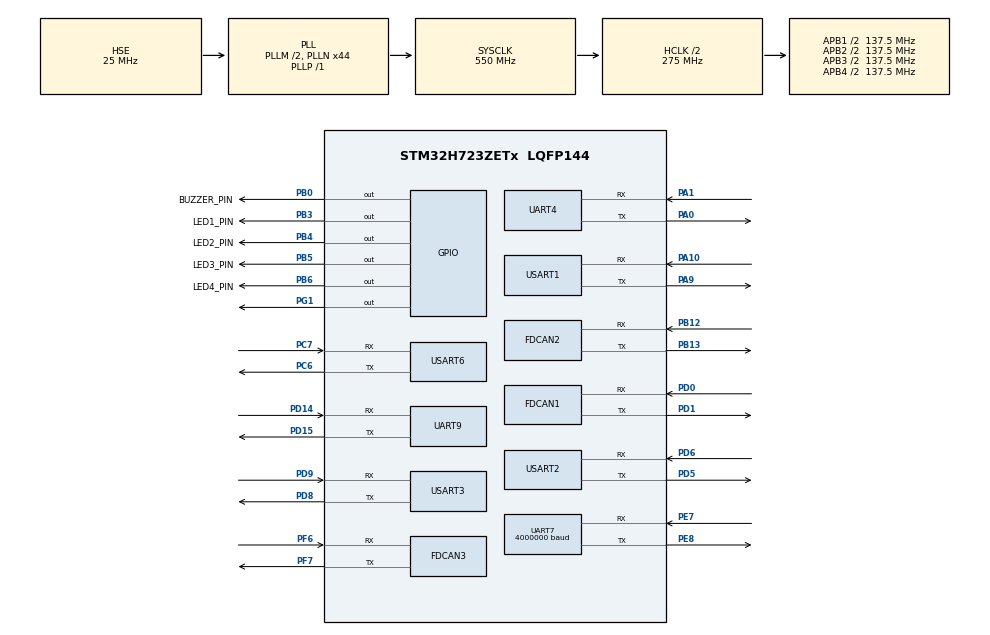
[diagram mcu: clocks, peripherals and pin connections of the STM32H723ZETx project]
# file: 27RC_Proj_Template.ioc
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CORTEX_M7.AccessPermission_S-Cortex_Memory_Protection_Unit_Region1_Settings_S=MPU_REGION_FULL_ACCESS
CORTEX_M7.AccessPermission_S-Cortex_Memory_Protection_Unit_Region2_Settings_S=MPU_REGION_FULL_ACCESS
CORTEX_M7.AccessPermission_Spec=MPU_REGION_FULL_ACCESS
CORTEX_M7.BaseAddress_S-Cortex_Memory_Protection_Unit_Region1_Settings_S=0x08000000
CORTEX_M7.BaseAddress_S-Cortex_Memory_Protection_Unit_Region2_Settings_S=0x30000000
CORTEX_M7.BaseAddress_Spec=0x24000000
CORTEX_M7.CPU_DCache=Enabled
CORTEX_M7.CPU_ICache=Enabled
CORTEX_M7.DisableExec_Spec=MPU_INSTRUCTION_ACCESS_ENABLE
CORTEX_M7.Enable_S-Cortex_Memory_Protection_Unit_Region1_Settings_S=MPU_REGION_ENABLE
CORTEX_M7.Enable_S-Cortex_Memory_Protection_Unit_Region2_Settings_S=MPU_REGION_ENABLE
CORTEX_M7.IsBufferable_Spec=MPU_ACCESS_BUFFERABLE
CORTEX_M7.IsCacheable_S-Cortex_Memory_Protection_Unit_Region1_Settings_S=MPU_ACCESS_CACHEABLE
CORTEX_M7.IsCacheable_S-Cortex_Memory_Protection_Unit_Region2_Settings_S=MPU_ACCESS_CACHEABLE
CORTEX_M7.IsCacheable_Spec=MPU_ACCESS_CACHEABLE
CORTEX_M7.IsShareable_Spec=MPU_ACCESS_NOT_SHAREABLE
CORTEX_M7.Size_S-Cortex_Memory_Protection_Unit_Region1_Settings_S=MPU_REGION_SIZE_512KB
CORTEX_M7.Size_S-Cortex_Memory_Protection_Unit_Region2_Settings_S=MPU_REGION_SIZE_512MB
CORTEX_M7.Size_Spec=MPU_REGION_SIZE_128KB
CORTEX_M7.SubRegionDisable_S-Cortex_Memory_Protection_Unit_Region2_Settings_S=0xFA
CORTEX_M7.SubRegionDisable_Spec=0
CORTEX_M7.TypeExtField_Spec=MPU_TEX_LEVEL1
CORTEX_M7.default_mode_Activation=1
Dma.Request0=UART4_RX
Dma.Request1=UART4_TX
Dma.Request10=USART6_RX
Dma.Request11=USART6_TX
Dma.Request2=UART7_RX
Dma.Request3=UART7_TX
Dma.Request4=UART9_RX
Dma.Request5=UART9_TX
Dma.Request6=USART1_RX
Dma.Request7=USART1_TX
Dma.Request8=USART3_RX
Dma.Request9=USART3_TX
Dma.UART4_RX.0.Direction=DMA_PERIPH_TO_MEMORY
Dma.UART4_RX.0.EventEnable=DISABLE
Dma.UART4_RX.0.FIFOMode=DMA_FIFOMODE_DISABLE
Dma.UART4_RX.0.Instance=DMA1_Stream0
Dma.UART4_RX.0.MemDataAlignment=DMA_MDATAALIGN_BYTE
Dma.UART4_RX.0.MemInc=DMA_MINC_ENABLE
Dma.UART4_RX.0.Mode=DMA_NORMAL
Dma.UART4_RX.0.PeriphDataAlignment=DMA_PDATAALIGN_BYTE
Dma.UART4_RX.0.PeriphInc=DMA_PINC_DISABLE
Dma.UART4_RX.0.Polarity=HAL_DMAMUX_REQ_GEN_RISING
Dma.UART4_RX.0.Priority=DMA_PRIORITY_LOW
Dma.UART4_RX.0.RequestNumber=1
Dma.UART4_RX.0.SignalID=NONE
Dma.UART4_RX.0.SyncEnable=DISABLE
Dma.UART4_RX.0.SyncPolarity=HAL_DMAMUX_SYNC_NO_EVENT
Dma.UART4_RX.0.SyncRequestNumber=1
Dma.UART4_RX.0.SyncSignalID=NONE
Dma.UART4_TX.1.Direction=DMA_MEMORY_TO_PERIPH
Dma.UART4_TX.1.EventEnable=DISABLE
Dma.UART4_TX.1.FIFOMode=DMA_FIFOMODE_DISABLE
Dma.UART4_TX.1.Instance=DMA1_Stream1
Dma.UART4_TX.1.MemDataAlignment=DMA_MDATAALIGN_BYTE
Dma.UART4_TX.1.MemInc=DMA_MINC_ENABLE
Dma.UART4_TX.1.Mode=DMA_NORMAL
Dma.UART4_TX.1.PeriphDataAlignment=DMA_PDATAALIGN_BYTE
Dma.UART4_TX.1.PeriphInc=DMA_PINC_DISABLE
Dma.UART4_TX.1.Polarity=HAL_DMAMUX_REQ_GEN_RISING
Dma.UART4_TX.1.Priority=DMA_PRIORITY_LOW
Dma.UART4_TX.1.RequestNumber=1
Dma.UART4_TX.1.SignalID=NONE
Dma.UART4_TX.1.SyncEnable=DISABLE
Dma.UART4_TX.1.SyncPolarity=HAL_DMAMUX_SYNC_NO_EVENT
Dma.UART4_TX.1.SyncRequestNumber=1
Dma.UART4_TX.1.SyncSignalID=NONE
Dma.UART7_RX.2.Direction=DMA_PERIPH_TO_MEMORY
Dma.UART7_RX.2.EventEnable=DISABLE
Dma.UART7_RX.2.FIFOMode=DMA_FIFOMODE_DISABLE
Dma.UART7_RX.2.Instance=DMA1_Stream2
Dma.UART7_RX.2.MemDataAlignment=DMA_MDATAALIGN_BYTE
Dma.UART7_RX.2.MemInc=DMA_MINC_ENABLE
Dma.UART7_RX.2.Mode=DMA_CIRCULAR
Dma.UART7_RX.2.PeriphDataAlignment=DMA_PDATAALIGN_BYTE
Dma.UART7_RX.2.PeriphInc=DMA_PINC_DISABLE
Dma.UART7_RX.2.Polarity=HAL_DMAMUX_REQ_GEN_RISING
Dma.UART7_RX.2.Priority=DMA_PRIORITY_VERY_HIGH
Dma.UART7_RX.2.RequestNumber=1
Dma.UART7_RX.2.SignalID=NONE
Dma.UART7_RX.2.SyncEnable=DISABLE
Dma.UART7_RX.2.SyncPolarity=HAL_DMAMUX_SYNC_NO_EVENT
Dma.UART7_RX.2.SyncRequestNumber=1
Dma.UART7_RX.2.SyncSignalID=NONE
Dma.UART7_TX.3.Direction=DMA_MEMORY_TO_PERIPH
Dma.UART7_TX.3.EventEnable=DISABLE
Dma.UART7_TX.3.FIFOMode=DMA_FIFOMODE_ENABLE
Dma.UART7_TX.3.FIFOThreshold=DMA_FIFO_THRESHOLD_FULL
Dma.UART7_TX.3.Instance=DMA1_Stream3
Dma.UART7_TX.3.MemBurst=DMA_MBURST_SINGLE
Dma.UART7_TX.3.MemDataAlignment=DMA_MDATAALIGN_BYTE
Dma.UART7_TX.3.MemInc=DMA_MINC_ENABLE
Dma.UART7_TX.3.Mode=DMA_NORMAL
Dma.UART7_TX.3.PeriphBurst=DMA_PBURST_SINGLE
Dma.UART7_TX.3.PeriphDataAlignment=DMA_PDATAALIGN_BYTE
Dma.UART7_TX.3.PeriphInc=DMA_PINC_DISABLE
Dma.UART7_TX.3.Polarity=HAL_DMAMUX_REQ_GEN_RISING
Dma.UART7_TX.3.Priority=DMA_PRIORITY_VERY_HIGH
Dma.UART7_TX.3.RequestNumber=1
Dma.UART7_TX.3.SignalID=NONE
Dma.UART7_TX.3.SyncEnable=DISABLE
Dma.UART7_TX.3.SyncPolarity=HAL_DMAMUX_SYNC_NO_EVENT
Dma.UART7_TX.3.SyncRequestNumber=1
Dma.UART7_TX.3.SyncSignalID=NONE
Dma.UART9_RX.4.Direction=DMA_PERIPH_TO_MEMORY
Dma.UART9_RX.4.EventEnable=DISABLE
Dma.UART9_RX.4.FIFOMode=DMA_FIFOMODE_DISABLE
Dma.UART9_RX.4.Instance=DMA1_Stream4
Dma.UART9_RX.4.MemDataAlignment=DMA_MDATAALIGN_BYTE
Dma.UART9_RX.4.MemInc=DMA_MINC_ENABLE
Dma.UART9_RX.4.Mode=DMA_NORMAL
Dma.UART9_RX.4.PeriphDataAlignment=DMA_PDATAALIGN_BYTE
Dma.UART9_RX.4.PeriphInc=DMA_PINC_DISABLE
Dma.UART9_RX.4.Polarity=HAL_DMAMUX_REQ_GEN_RISING
Dma.UART9_RX.4.Priority=DMA_PRIORITY_LOW
Dma.UART9_RX.4.RequestNumber=1
Dma.UART9_RX.4.SignalID=NONE
Dma.UART9_RX.4.SyncEnable=DISABLE
Dma.UART9_RX.4.SyncPolarity=HAL_DMAMUX_SYNC_NO_EVENT
Dma.UART9_RX.4.SyncRequestNumber=1
Dma.UART9_RX.4.SyncSignalID=NONE
Dma.UART9_TX.5.Direction=DMA_MEMORY_TO_PERIPH
Dma.UART9_TX.5.EventEnable=DISABLE
Dma.UART9_TX.5.FIFOMode=DMA_FIFOMODE_DISABLE
Dma.UART9_TX.5.Instance=DMA1_Stream5
Dma.UART9_TX.5.MemDataAlignment=DMA_MDATAALIGN_BYTE
Dma.UART9_TX.5.MemInc=DMA_MINC_ENABLE
Dma.UART9_TX.5.Mode=DMA_NORMAL
Dma.UART9_TX.5.PeriphDataAlignment=DMA_PDATAALIGN_BYTE
Dma.UART9_TX.5.PeriphInc=DMA_PINC_DISABLE
Dma.UART9_TX.5.Polarity=HAL_DMAMUX_REQ_GEN_RISING
Dma.UART9_TX.5.Priority=DMA_PRIORITY_LOW
Dma.UART9_TX.5.RequestNumber=1
Dma.UART9_TX.5.SignalID=NONE
Dma.UART9_TX.5.SyncEnable=DISABLE
Dma.UART9_TX.5.SyncPolarity=HAL_DMAMUX_SYNC_NO_EVENT
Dma.UART9_TX.5.SyncRequestNumber=1
Dma.UART9_TX.5.SyncSignalID=NONE
Dma.USART1_RX.6.Direction=DMA_PERIPH_TO_MEMORY
Dma.USART1_RX.6.EventEnable=DISABLE
Dma.USART1_RX.6.FIFOMode=DMA_FIFOMODE_DISABLE
Dma.USART1_RX.6.Instance=DMA1_Stream6
Dma.USART1_RX.6.MemDataAlignment=DMA_MDATAALIGN_BYTE
Dma.USART1_RX.6.MemInc=DMA_MINC_ENABLE
Dma.USART1_RX.6.Mode=DMA_NORMAL
Dma.USART1_RX.6.PeriphDataAlignment=DMA_PDATAALIGN_BYTE
Dma.USART1_RX.6.PeriphInc=DMA_PINC_DISABLE
Dma.USART1_RX.6.Polarity=HAL_DMAMUX_REQ_GEN_RISING
Dma.USART1_RX.6.Priority=DMA_PRIORITY_LOW
Dma.USART1_RX.6.RequestNumber=1
Dma.USART1_RX.6.SignalID=NONE
Dma.USART1_RX.6.SyncEnable=DISABLE
Dma.USART1_RX.6.SyncPolarity=HAL_DMAMUX_SYNC_NO_EVENT
Dma.USART1_RX.6.SyncRequestNumber=1
Dma.USART1_RX.6.SyncSignalID=NONE
Dma.USART1_TX.7.Direction=DMA_MEMORY_TO_PERIPH
Dma.USART1_TX.7.EventEnable=DISABLE
Dma.USART1_TX.7.FIFOMode=DMA_FIFOMODE_DISABLE
Dma.USART1_TX.7.Instance=DMA1_Stream7
Dma.USART1_TX.7.MemDataAlignment=DMA_MDATAALIGN_BYTE
Dma.USART1_TX.7.MemInc=DMA_MINC_ENABLE
Dma.USART1_TX.7.Mode=DMA_NORMAL
Dma.USART1_TX.7.PeriphDataAlignment=DMA_PDATAALIGN_BYTE
Dma.USART1_TX.7.PeriphInc=DMA_PINC_DISABLE
Dma.USART1_TX.7.Polarity=HAL_DMAMUX_REQ_GEN_RISING
Dma.USART1_TX.7.Priority=DMA_PRIORITY_LOW
Dma.USART1_TX.7.RequestNumber=1
Dma.USART1_TX.7.SignalID=NONE
Dma.USART1_TX.7.SyncEnable=DISABLE
Dma.USART1_TX.7.SyncPolarity=HAL_DMAMUX_SYNC_NO_EVENT
Dma.USART1_TX.7.SyncRequestNumber=1
Dma.USART1_TX.7.SyncSignalID=NONE
Dma.USART3_RX.8.Direction=DMA_PERIPH_TO_MEMORY
Dma.USART3_RX.8.EventEnable=DISABLE
Dma.USART3_RX.8.FIFOMode=DMA_FIFOMODE_DISABLE
Dma.USART3_RX.8.Instance=DMA2_Stream0
Dma.USART3_RX.8.MemDataAlignment=DMA_MDATAALIGN_BYTE
Dma.USART3_RX.8.MemInc=DMA_MINC_ENABLE
Dma.USART3_RX.8.Mode=DMA_NORMAL
Dma.USART3_RX.8.PeriphDataAlignment=DMA_PDATAALIGN_BYTE
Dma.USART3_RX.8.PeriphInc=DMA_PINC_DISABLE
Dma.USART3_RX.8.Polarity=HAL_DMAMUX_REQ_GEN_RISING
Dma.USART3_RX.8.Priority=DMA_PRIORITY_LOW
Dma.USART3_RX.8.RequestNumber=1
Dma.USART3_RX.8.SignalID=NONE
Dma.USART3_RX.8.SyncEnable=DISABLE
Dma.USART3_RX.8.SyncPolarity=HAL_DMAMUX_SYNC_NO_EVENT
Dma.USART3_RX.8.SyncRequestNumber=1
Dma.USART3_RX.8.SyncSignalID=NONE
Dma.USART3_TX.9.Direction=DMA_MEMORY_TO_PERIPH
Dma.USART3_TX.9.EventEnable=DISABLE
Dma.USART3_TX.9.FIFOMode=DMA_FIFOMODE_DISABLE
Dma.USART3_TX.9.Instance=DMA2_Stream1
Dma.USART3_TX.9.MemDataAlignment=DMA_MDATAALIGN_BYTE
Dma.USART3_TX.9.MemInc=DMA_MINC_ENABLE
Dma.USART3_TX.9.Mode=DMA_NORMAL
Dma.USART3_TX.9.PeriphDataAlignment=DMA_PDATAALIGN_BYTE
Dma.USART3_TX.9.PeriphInc=DMA_PINC_DISABLE
Dma.USART3_TX.9.Polarity=HAL_DMAMUX_REQ_GEN_RISING
Dma.USART3_TX.9.Priority=DMA_PRIORITY_LOW
Dma.USART3_TX.9.RequestNumber=1
Dma.USART3_TX.9.SignalID=NONE
Dma.USART3_TX.9.SyncEnable=DISABLE
Dma.USART3_TX.9.SyncPolarity=HAL_DMAMUX_SYNC_NO_EVENT
Dma.USART3_TX.9.SyncRequestNumber=1
Dma.USART3_TX.9.SyncSignalID=NONE
Dma.USART6_RX.10.Direction=DMA_PERIPH_TO_MEMORY
Dma.USART6_RX.10.EventEnable=DISABLE
Dma.USART6_RX.10.FIFOMode=DMA_FIFOMODE_DISABLE
Dma.USART6_RX.10.Instance=DMA2_Stream2
Dma.USART6_RX.10.MemDataAlignment=DMA_MDATAALIGN_BYTE
Dma.USART6_RX.10.MemInc=DMA_MINC_ENABLE
Dma.USART6_RX.10.Mode=DMA_NORMAL
Dma.USART6_RX.10.PeriphDataAlignment=DMA_PDATAALIGN_BYTE
Dma.USART6_RX.10.PeriphInc=DMA_PINC_DISABLE
Dma.USART6_RX.10.Polarity=HAL_DMAMUX_REQ_GEN_RISING
Dma.USART6_RX.10.Priority=DMA_PRIORITY_LOW
Dma.USART6_RX.10.RequestNumber=1
Dma.USART6_RX.10.SignalID=NONE
Dma.USART6_RX.10.SyncEnable=DISABLE
Dma.USART6_RX.10.SyncPolarity=HAL_DMAMUX_SYNC_NO_EVENT
Dma.USART6_RX.10.SyncRequestNumber=1
Dma.USART6_RX.10.SyncSignalID=NONE
Dma.USART6_TX.11.Direction=DMA_MEMORY_TO_PERIPH
Dma.USART6_TX.11.EventEnable=DISABLE
Dma.USART6_TX.11.FIFOMode=DMA_FIFOMODE_DISABLE
Dma.USART6_TX.11.Instance=DMA2_Stream3
Dma.USART6_TX.11.MemDataAlignment=DMA_MDATAALIGN_BYTE
Dma.USART6_TX.11.MemInc=DMA_MINC_ENABLE
Dma.USART6_TX.11.Mode=DMA_NORMAL
Dma.USART6_TX.11.PeriphDataAlignment=DMA_PDATAALIGN_BYTE
Dma.USART6_TX.11.PeriphInc=DMA_PINC_DISABLE
Dma.USART6_TX.11.Polarity=HAL_DMAMUX_REQ_GEN_RISING
Dma.USART6_TX.11.Priority=DMA_PRIORITY_LOW
Dma.USART6_TX.11.RequestNumber=1
Dma.USART6_TX.11.SignalID=NONE
Dma.USART6_TX.11.SyncEnable=DISABLE
Dma.USART6_TX.11.SyncPolarity=HAL_DMAMUX_SYNC_NO_EVENT
Dma.USART6_TX.11.SyncRequestNumber=1
Dma.USART6_TX.11.SyncSignalID=NONE
FDCAN1.AutoRetransmission=DISABLE
FDCAN1.CalculateBaudRateNominal=1000000
FDCAN1.CalculateTimeBitNominal=1000
FDCAN1.CalculateTimeQuantumNominal=25.0
FDCAN1.DataSyncJumpWidth=5
FDCAN1.DataTimeSeg1=29
FDCAN1.DataTimeSeg2=10
FDCAN1.ExtFiltersNbr=16
FDCAN1.NominalPrescaler=1
FDCAN1.NominalSyncJumpWidth=5
FDCAN1.NominalTimeSeg1=29
FDCAN1.NominalTimeSeg2=10
FDCAN1.RxFifo0ElmtsNbr=20
FDCAN1.RxFifo1ElmtsNbr=20
FDCAN1.StdFiltersNbr=16
FDCAN1.TxBuffersNbr=0
FDCAN1.TxFifoQueueElmtsNbr=16
FDCAN2.CalculateBaudRateNominal=1000000
FDCAN2.CalculateTimeBitNominal=1000
FDCAN2.CalculateTimeQuantumNominal=25.0
FDCAN2.DataSyncJumpWidth=5
FDCAN2.DataTimeSeg1=29
FDCAN2.DataTimeSeg2=10
FDCAN2.ExtFiltersNbr=16
FDCAN2.MessageRAMOffset=850
FDCAN2.NominalPrescaler=1
FDCAN2.NominalSyncJumpWidth=5
FDCAN2.NominalTimeSeg1=29
FDCAN2.NominalTimeSeg2=10
FDCAN2.RxFifo0ElmtsNbr=20
FDCAN2.RxFifo1ElmtsNbr=20
FDCAN2.StdFiltersNbr=16
FDCAN2.TxBuffersNbr=0
FDCAN2.TxFifoQueueElmtsNbr=16
FDCAN3.CalculateBaudRateNominal=1000000
FDCAN3.CalculateTimeBitNominal=1000
FDCAN3.CalculateTimeQuantumNominal=25.0
FDCAN3.DataSyncJumpWidth=5
FDCAN3.DataTimeSeg1=29
FDCAN3.DataTimeSeg2=10
FDCAN3.ExtFiltersNbr=16
FDCAN3.MessageRAMOffset=1700
FDCAN3.NominalPrescaler=1
FDCAN3.NominalSyncJumpWidth=5
FDCAN3.NominalTimeSeg1=29
FDCAN3.NominalTimeSeg2=10
FDCAN3.RxFifo0ElmtsNbr=20
FDCAN3.RxFifo1ElmtsNbr=20
FDCAN3.StdFiltersNbr=16
FDCAN3.TxBuffersNbr=0
FDCAN3.TxFifoQueueElmtsNbr=20
FREERTOS.Tasks01=AlarmTask,16,64,Alarm_Task,As weak,NULL,Dynamic,NULL,NULL;Chassis_Control,24,64,Chassis_Control_Task,As weak,NULL,Dynamic,NULL,NULL;BigBlock_Contro,24,64,BigBlock_Control_Task,As weak,NULL,Dynamic,NULL,NULL;SkyBlock_Contro,24,64,SkyBlock_Control_Task,As weak,NULL,Dynamic,NULL,NULL;Ball_Control,24,64,Ball_Control_Task,As weak,NULL,Dynamic,NULL,NULL;Yaw_Feedback,24,64,Yaw_Feedback_Task,As weak,NULL,Dynamic,NULL,NULL
FREERTOS.configMINIMAL_STACK_SIZE=64
FREERTOS.configTIMER_TASK_STACK_DEPTH=256
Mcu.Family=STM32H7
Mcu.Name=STM32H723ZETx
Mcu.Package=LQFP144
NVIC.DMA1_Stream0_IRQn=true\:5\:0\:false\:false\:true\:true\:false\:true\:true
NVIC.DMA1_Stream1_IRQn=true\:5\:0\:false\:false\:true\:true\:false\:true\:true
NVIC.DMA1_Stream2_IRQn=true\:5\:0\:false\:false\:true\:true\:false\:true\:true
NVIC.DMA1_Stream3_IRQn=true\:5\:0\:false\:false\:true\:true\:false\:true\:true
NVIC.DMA1_Stream4_IRQn=true\:5\:0\:false\:false\:true\:true\:false\:true\:true
NVIC.DMA1_Stream5_IRQn=true\:5\:0\:false\:false\:true\:true\:false\:true\:true
NVIC.DMA1_Stream6_IRQn=true\:5\:0\:false\:false\:true\:true\:false\:true\:true
NVIC.DMA1_Stream7_IRQn=true\:5\:0\:false\:false\:true\:true\:false\:true\:true
NVIC.DMA2_Stream0_IRQn=true\:5\:0\:false\:false\:true\:true\:false\:true\:true
NVIC.DMA2_Stream1_IRQn=true\:5\:0\:false\:false\:true\:true\:false\:true\:true
NVIC.DMA2_Stream2_IRQn=true\:5\:0\:false\:false\:true\:true\:false\:true\:true
NVIC.DMA2_Stream3_IRQn=true\:5\:0\:false\:false\:true\:true\:false\:true\:true
NVIC.FDCAN1_IT0_IRQn=true\:5\:0\:false\:false\:true\:true\:true\:true\:true
NVIC.FDCAN1_IT1_IRQn=true\:5\:0\:false\:false\:true\:true\:true\:true\:true
NVIC.FDCAN2_IT0_IRQn=true\:5\:0\:false\:false\:true\:true\:true\:true\:true
NVIC.FDCAN2_IT1_IRQn=true\:5\:0\:false\:false\:true\:true\:true\:true\:true
NVIC.FDCAN3_IT0_IRQn=true\:5\:0\:false\:false\:true\:true\:true\:true\:true
NVIC.FDCAN3_IT1_IRQn=true\:5\:0\:false\:false\:true\:true\:true\:true\:true
NVIC.PriorityGroup=NVIC_PRIORITYGROUP_4
NVIC.TIM1_UP_IRQn=true\:15\:0\:false\:false\:true\:false\:false\:true\:true
NVIC.TIM2_IRQn=true\:5\:0\:false\:false\:true\:true\:true\:true\:true
NVIC.TIM3_IRQn=true\:5\:0\:false\:false\:true\:true\:true\:true\:true
NVIC.TIM4_IRQn=true\:5\:0\:false\:false\:true\:true\:true\:true\:true
NVIC.TimeBase=TIM1_UP_IRQn
NVIC.TimeBaseIP=TIM1
NVIC.UART4_IRQn=true\:5\:0\:false\:false\:true\:true\:true\:true\:true
NVIC.UART7_IRQn=true\:5\:0\:false\:false\:true\:true\:true\:true\:true
NVIC.UART9_IRQn=true\:5\:0\:false\:false\:true\:true\:true\:true\:true
NVIC.USART1_IRQn=true\:5\:0\:false\:false\:true\:true\:true\:true\:true
NVIC.USART2_IRQn=true\:5\:0\:false\:false\:true\:true\:true\:true\:true
NVIC.USART3_IRQn=true\:5\:0\:false\:false\:true\:true\:true\:true\:true
NVIC.USART6_IRQn=true\:5\:0\:false\:false\:true\:true\:true\:true\:true
PA0.Mode=Asynchronous
PA0.Signal=UART4_TX
PA1.Mode=Asynchronous
PA1.Signal=UART4_RX
PA10.Mode=Asynchronous
PA10.Signal=USART1_RX
PA13(JTMS/SWDIO).Mode=Serial_Wire
PA13(JTMS/SWDIO).Signal=DEBUG_JTMS-SWDIO
PA14(JTCK/SWCLK).Mode=Serial_Wire
PA14(JTCK/SWCLK).Signal=DEBUG_JTCK-SWCLK
PA9.Mode=Asynchronous
PA9.Signal=USART1_TX
PB0.GPIO_Label=BUZZER_PIN
PB0.Signal=GPIO_Output
PB12.GPIO_PuPd=GPIO_NOPULL
PB12.Mode=FDCAN_Activate
PB12.Signal=FDCAN2_RX
PB13.GPIO_PuPd=GPIO_NOPULL
PB13.Mode=FDCAN_Activate
PB13.Signal=FDCAN2_TX
PB3(JTDO/TRACESWO).GPIO_Label=LED1_PIN
PB3(JTDO/TRACESWO).Signal=GPIO_Output
PB4(NJTRST).GPIO_Label=LED2_PIN
PB4(NJTRST).Signal=GPIO_Output
PB5.GPIO_Label=LED3_PIN
PB5.Signal=GPIO_Output
PB6.GPIO_Label=LED4_PIN
PB6.Signal=GPIO_Output
PC6.Mode=Asynchronous
PC6.Signal=USART6_TX
PC7.Mode=Asynchronous
PC7.Signal=USART6_RX
PD0.GPIO_PuPd=GPIO_NOPULL
PD0.Mode=FDCAN_Activate
PD0.Signal=FDCAN1_RX
PD1.GPIO_PuPd=GPIO_NOPULL
PD1.Mode=FDCAN_Activate
PD1.Signal=FDCAN1_TX
PD14.Mode=Asynchronous
PD14.Signal=UART9_RX
PD15.Mode=Asynchronous
PD15.Signal=UART9_TX
PD5.Mode=Asynchronous
PD5.Signal=USART2_TX
PD6.Mode=Asynchronous
PD6.Signal=USART2_RX
PD8.Mode=Asynchronous
PD8.Signal=USART3_TX
PD9.Mode=Asynchronous
PD9.Signal=USART3_RX
PE7.GPIO_Speed=GPIO_SPEED_FREQ_VERY_HIGH
PE7.Mode=Asynchronous
PE7.Signal=UART7_RX
PE8.GPIO_Speed=GPIO_SPEED_FREQ_VERY_HIGH
PE8.Mode=Asynchronous
PE8.Signal=UART7_TX
PF6.GPIO_PuPd=GPIO_NOPULL
PF6.Mode=FDCAN_Activate
PF6.Signal=FDCAN3_RX
PF7.GPIO_PuPd=GPIO_NOPULL
PF7.Mode=FDCAN_Activate
PF7.Signal=FDCAN3_TX
PG1.Signal=GPIO_Output
PH0-OSC_IN.Mode=HSE-External-Oscillator
PH0-OSC_IN.Signal=RCC_OSC_IN
PH1-OSC_OUT.Mode=HSE-External-Oscillator
PH1-OSC_OUT.Signal=RCC_OSC_OUT
ProjectManager.HeapSize=0x200
ProjectManager.StackSize=0x400
ProjectManager.TargetToolchain=MDK-ARM V5.32
RCC.ADCFreq_Value=100000000
RCC.APB1Freq_Value=137500000
RCC.APB2Freq_Value=137500000
RCC.APB3Freq_Value=137500000
RCC.APB4Freq_Value=137500000
RCC.CortexFreq_Value=550000000
RCC.D1PPRE=RCC_APB3_DIV2
RCC.D2PPRE1=RCC_APB1_DIV2
RCC.D2PPRE2=RCC_APB2_DIV2
RCC.D3PPRE=RCC_APB4_DIV2
RCC.DIVM1=2
RCC.DIVM2=2
RCC.DIVM3=2
RCC.DIVN1=44
RCC.DIVN2=16
RCC.DIVN3=16
RCC.DIVP1=1
RCC.DIVQ1=4
RCC.DIVQ2=5
RCC.FDCANCLockSelection=RCC_FDCANCLKSOURCE_PLL2
RCC.HCLKFreq_Value=275000000
RCC.HPRE=RCC_HCLK_DIV2
RCC.PLL2FRACN=0
RCC.PLL3FRACN=0
RCC.PLLFRACN=0
RCC.PLLSourceVirtual=RCC_PLLSOURCE_HSE
RCC.SYSCLKFreq_VALUE=550000000
RCC.SYSCLKSource=RCC_SYSCLKSOURCE_PLLCLK
RCC.USBFreq_Value=137500000
TIM2.Period=999
TIM2.Prescaler=274
TIM3.Prescaler=274
TIM4.Period=999
TIM4.Prescaler=274
TIM5.Period=999
TIM5.Prescaler=274
UART7.BaudRate=4000000
USART1.VirtualMode-Asynchronous=VM_ASYNC
USART2.VirtualMode-Asynchronous=VM_ASYNC
USART3.VirtualMode-Asynchronous=VM_ASYNC
USART6.VirtualMode-Asynchronous=VM_ASYNC
VP_FREERTOS_VS_CMSIS_V2.Mode=CMSIS_V2
VP_MEMORYMAP_VS_MEMORYMAP.Mode=CurAppReg
VP_SYS_VS_tim1.Mode=TIM1
VP_TIM2_VS_ClockSourceINT.Mode=Internal
VP_TIM3_VS_ClockSourceINT.Mode=Internal
VP_TIM4_VS_ClockSourceINT.Mode=Internal
VP_TIM5_VS_ClockSourceINT.Mode=Internal
board=custom

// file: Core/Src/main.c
/* USER CODE BEGIN Header */
/**
  ******************************************************************************
  * @file           : main.c
  * @brief          : Main program body
  ******************************************************************************
  * @attention
  *
  * Copyright (c) 2026 STMicroelectronics.
  * All rights reserved.
  *
  * This software is licensed under terms that can be found in the LICENSE file
  * in the root directory of this software component.
  * If no LICENSE file comes with this software, it is provided AS-IS.
  *
  ******************************************************************************
  */
/* USER CODE END Header */
#include "main.h"
#include "FreeRTOS.h"
#include "cmsis_os2.h"
#include "dma.h"
#include "fdcan.h"
#include "tim.h"
#include "usart.h"
#include "gpio.h"

/* USER CODE BEGIN Includes */
#include "includes.h"
#include "IQRhandler.h"
#include "motor_config.h"
#include "FD_Canqueue.h"
#include "ZDrive.h"
#include "DJmotor.h"
#include "VescMotor.h"
#include "UnitreeMotor.h"
#include "bsp_board.h"
#include "bsp_buzzer.h"
#include "bsp_solenoid.h"
#include "app_config.h"
#include "bluetooth.h"
/* USER CODE END Includes */

void SystemClock_Config(void);
void PeriphCommonClock_Config(void);
static void MPU_Config(void);
void MX_FREERTOS_Init(void);

int main(void)
{

  /* USER CODE BEGIN 1 */
	uint32_t *SourceAddr = (uint32_t *)FLASH_BANK1_BASE;
	uint32_t *DestAddr = (uint32_t *)D1_DTCMRAM_BASE;
	memcpy(DestAddr, SourceAddr, 0x400);
	SCB->VTOR = D1_DTCMRAM_BASE; //向量表重定向
  /* USER CODE END 1 */

  /* MPU Configuration--------------------------------------------------------*/
  MPU_Config();

  /* Enable the CPU Cache */

  /* Enable I-Cache---------------------------------------------------------*/
  SCB_EnableICache();

  /* Enable D-Cache---------------------------------------------------------*/
  SCB_EnableDCache();

  /* MCU Configuration--------------------------------------------------------*/

  /* Reset of all peripherals, Initializes the Flash interface and the Systick. */
  HAL_Init();

  /* USER CODE BEGIN Init */
	#if USE_ZMDR
  ZdriveInit();
	#endif
  /* USER CODE END Init */

  /* Configure the system clock */
  SystemClock_Config();

  /* Configure the peripherals common clocks */
  PeriphCommonClock_Config();

  /* Initialize all configured peripherals */
  MX_GPIO_Init();
  MX_DMA_Init();
  MX_FDCAN1_Init();
  MX_FDCAN2_Init();
  MX_FDCAN3_Init();
  MX_UART4_Init();
  MX_UART7_Init();
  MX_UART9_Init();
  MX_USART1_UART_Init();
  MX_USART2_UART_Init();
  MX_USART3_UART_Init();
  MX_USART6_UART_Init();
  MX_TIM2_Init();
  MX_TIM3_Init();
  MX_TIM4_Init();
  MX_TIM5_Init();
  /* USER CODE BEGIN 2 */
  Bsp_BoardInit();
#if APP_START_BUZZER_ON_BOOT
  BspBuzzer_StartupBeep();
#endif
  CAN_InitSendQueue();
  CAN_Start();
#if USE_DJ
  DJmotor_Init();
#endif
#if USE_VESC
  VescInit();
#endif
#if USE_ZMDR
  ZdriveInit();
#endif
#if USE_UNITREE
  UnitreeMotor_Init();
#endif

  /* 各串口空闲 DMA 接收启动(USART2 未配 DMA,需要的话在 CubeMX 里加) */
  // HAL_UARTEx_ReceiveToIdle_DMA(&huart1, UART1_RxBuffer, UART_RX_BUFFER_SIZE);
  SolenoidValve_Init(Solenoid_Channel1);
  HAL_UARTEx_ReceiveToIdle_DMA(&huart3, UART3_RxBuffer, UART_RX_BUFFER_SIZE);
  HAL_UARTEx_ReceiveToIdle_DMA(&huart4, UART4_RxBuffer, UART_RX_BUFFER_SIZE);
  UART_Start_Recieve();
  HAL_UARTEx_ReceiveToIdle_DMA(&huart9, UART9_RxBuffer, UART_RX_BUFFER_SIZE);
  /* USER CODE END 2 */

  /* Init scheduler */
  osKernelInitialize();  /* Call init function for freertos objects (in cmsis_os2.c) */
  MX_FREERTOS_Init();

  /* Start scheduler */
  osKernelStart();

  /* We should never get here as control is now taken by the scheduler */

  /* Infinite loop */
  while (1)
  {

  }
}

void SystemClock_Config(void)
{
  RCC_OscInitTypeDef RCC_OscInitStruct = {0};
  RCC_ClkInitTypeDef RCC_ClkInitStruct = {0};

  /** Supply configuration update enable
  */
  HAL_PWREx_ConfigSupply(PWR_LDO_SUPPLY);

  /** Configure the main internal regulator output voltage
  */
  __HAL_PWR_VOLTAGESCALING_CONFIG(PWR_REGULATOR_VOLTAGE_SCALE0);

  while(!__HAL_PWR_GET_FLAG(PWR_FLAG_VOSRDY)) {}

  /** Initializes the RCC Oscillators according to the specified parameters
  * in the RCC_OscInitTypeDef structure.
  */
  RCC_OscInitStruct.OscillatorType = RCC_OSCILLATORTYPE_HSE;
  RCC_OscInitStruct.HSEState = RCC_HSE_ON;
  RCC_OscInitStruct.PLL.PLLState = RCC_PLL_ON;
  RCC_OscInitStruct.PLL.PLLSource = RCC_PLLSOURCE_HSE;
  RCC_OscInitStruct.PLL.PLLM = 2;
  RCC_OscInitStruct.PLL.PLLN = 44;
  RCC_OscInitStruct.PLL.PLLP = 1;
  RCC_OscInitStruct.PLL.PLLQ = 4;
  RCC_OscInitStruct.PLL.PLLR = 2;
  RCC_OscInitStruct.PLL.PLLRGE = RCC_PLL1VCIRANGE_3;
  RCC_OscInitStruct.PLL.PLLVCOSEL = RCC_PLL1VCOWIDE;
  RCC_OscInitStruct.PLL.PLLFRACN = 0;
  if (HAL_RCC_OscConfig(&RCC_OscInitStruct) != HAL_OK)
  {
    Error_Handler();
  }

  /** Initializes the CPU, AHB and APB buses clocks
  */
  RCC_ClkInitStruct.ClockType = RCC_CLOCKTYPE_HCLK|RCC_CLOCKTYPE_SYSCLK
                              |RCC_CLOCKTYPE_PCLK1|RCC_CLOCKTYPE_PCLK2
                              |RCC_CLOCKTYPE_D3PCLK1|RCC_CLOCKTYPE_D1PCLK1;
  RCC_ClkInitStruct.SYSCLKSource = RCC_SYSCLKSOURCE_PLLCLK;
  RCC_ClkInitStruct.SYSCLKDivider = RCC_SYSCLK_DIV1;
  RCC_ClkInitStruct.AHBCLKDivider = RCC_HCLK_DIV2;
  RCC_ClkInitStruct.APB3CLKDivider = RCC_APB3_DIV2;
  RCC_ClkInitStruct.APB1CLKDivider = RCC_APB1_DIV2;
  RCC_ClkInitStruct.APB2CLKDivider = RCC_APB2_DIV2;
  RCC_ClkInitStruct.APB4CLKDivider = RCC_APB4_DIV2;

  if (HAL_RCC_ClockConfig(&RCC_ClkInitStruct, FLASH_LATENCY_3) != HAL_OK)
  {
    Error_Handler();
  }
}

void PeriphCommonClock_Config(void)
{
  RCC_PeriphCLKInitTypeDef PeriphClkInitStruct = {0};

  /** Initializes the peripherals clock
  */
  PeriphClkInitStruct.PeriphClockSelection = RCC_PERIPHCLK_FDCAN;
  PeriphClkInitStruct.PLL2.PLL2M = 2;
  PeriphClkInitStruct.PLL2.PLL2N = 16;
  PeriphClkInitStruct.PLL2.PLL2P = 2;
  PeriphClkInitStruct.PLL2.PLL2Q = 5;
  PeriphClkInitStruct.PLL2.PLL2R = 2;
  PeriphClkInitStruct.PLL2.PLL2RGE = RCC_PLL2VCIRANGE_3;
  PeriphClkInitStruct.PLL2.PLL2VCOSEL = RCC_PLL2VCOWIDE;
  PeriphClkInitStruct.PLL2.PLL2FRACN = 0;
  PeriphClkInitStruct.FdcanClockSelection = RCC_FDCANCLKSOURCE_PLL2;
  if (HAL_RCCEx_PeriphCLKConfig(&PeriphClkInitStruct) != HAL_OK)
  {
    Error_Handler();
  }
}

 /* MPU Configuration */

void MPU_Config(void)
{
  MPU_Region_InitTypeDef MPU_InitStruct = {0};

  /* Disables the MPU */
  HAL_MPU_Disable();

  /** Initializes and configures the Region and the memory to be protected
  */
  MPU_InitStruct.Enable = MPU_REGION_ENABLE;
  MPU_InitStruct.Number = MPU_REGION_NUMBER0;
  MPU_InitStruct.BaseAddress = 0x24000000;
  MPU_InitStruct.Size = MPU_REGION_SIZE_128KB;
  MPU_InitStruct.SubRegionDisable = 0;
  MPU_InitStruct.TypeExtField = MPU_TEX_LEVEL1;
  MPU_InitStruct.AccessPermission = MPU_REGION_FULL_ACCESS;
  MPU_InitStruct.DisableExec = MPU_INSTRUCTION_ACCESS_ENABLE;
  MPU_InitStruct.IsShareable = MPU_ACCESS_NOT_SHAREABLE;
  MPU_InitStruct.IsCacheable = MPU_ACCESS_CACHEABLE;
  MPU_InitStruct.IsBufferable = MPU_ACCESS_BUFFERABLE;

  HAL_MPU_ConfigRegion(&MPU_InitStruct);

  /** Initializes and configures the Region and the memory to be protected
  */
  MPU_InitStruct.Number = MPU_REGION_NUMBER1;
  MPU_InitStruct.BaseAddress = 0x08000000;
  MPU_InitStruct.Size = MPU_REGION_SIZE_512KB;
  MPU_InitStruct.SubRegionDisable = 0x0;
  MPU_InitStruct.TypeExtField = MPU_TEX_LEVEL0;
  MPU_InitStruct.IsBufferable = MPU_ACCESS_NOT_BUFFERABLE;

  HAL_MPU_ConfigRegion(&MPU_InitStruct);

  /** Initializes and configures the Region and the memory to be protected
  */
  MPU_InitStruct.Number = MPU_REGION_NUMBER2;
  MPU_InitStruct.BaseAddress = 0x30000000;
  MPU_InitStruct.Size = MPU_REGION_SIZE_512MB;
  MPU_InitStruct.SubRegionDisable = 0xFA;

  HAL_MPU_ConfigRegion(&MPU_InitStruct);
  /* Enables the MPU */
  HAL_MPU_Enable(MPU_PRIVILEGED_DEFAULT);

}

void HAL_TIM_PeriodElapsedCallback(TIM_HandleTypeDef *htim)
{
  if (htim->Instance == TIM1)
  {
    HAL_IncTick();
  }
  /* USER CODE BEGIN Callback 1 */
  TIM_PeriodElapsedCallback(htim);

  /* USER CODE END Callback 1 */
}

void Error_Handler(void)
{
  __disable_irq();
  while (1)
  {
  }
}

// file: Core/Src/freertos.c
/* USER CODE BEGIN Header */
/**
  ******************************************************************************
  * File Name          : freertos.c
  * Description        : Code for freertos applications
  ******************************************************************************
  * @attention
  *
  * Copyright (c) 2026 STMicroelectronics.
  * All rights reserved.
  *
  * This software is licensed under terms that can be found in the LICENSE file
  * in the root directory of this software component.
  * If no LICENSE file comes with this software, it is provided AS-IS.
  *
  ******************************************************************************
  */
/* USER CODE END Header */

#include "FreeRTOS.h"
#include "task.h"
#include "main.h"
#include "FreeRTOS.h"
#include "cmsis_os2.h"

/* Definitions for AlarmTask */
osThreadId_t AlarmTaskHandle;
const osThreadAttr_t AlarmTask_attributes = {
  .name = "AlarmTask",
  .stack_size = 64 * 4,
  .priority = (osPriority_t) osPriorityBelowNormal,
};
/* Definitions for Chassis_Control */
osThreadId_t Chassis_ControlHandle;
const osThreadAttr_t Chassis_Control_attributes = {
  .name = "Chassis_Control",
  .stack_size = 64 * 4,
  .priority = (osPriority_t) osPriorityNormal,
};
/* Definitions for BigBlock_Contro */
osThreadId_t BigBlock_ControHandle;
const osThreadAttr_t BigBlock_Contro_attributes = {
  .name = "BigBlock_Contro",
  .stack_size = 64 * 4,
  .priority = (osPriority_t) osPriorityNormal,
};
/* Definitions for SkyBlock_Contro */
osThreadId_t SkyBlock_ControHandle;
const osThreadAttr_t SkyBlock_Contro_attributes = {
  .name = "SkyBlock_Contro",
  .stack_size = 64 * 4,
  .priority = (osPriority_t) osPriorityNormal,
};
/* Definitions for Ball_Control */
osThreadId_t Ball_ControlHandle;
const osThreadAttr_t Ball_Control_attributes = {
  .name = "Ball_Control",
  .stack_size = 64 * 4,
  .priority = (osPriority_t) osPriorityNormal,
};
/* Definitions for Yaw_Feedback */
osThreadId_t Yaw_FeedbackHandle;
const osThreadAttr_t Yaw_Feedback_attributes = {
  .name = "Yaw_Feedback",
  .stack_size = 64 * 4,
  .priority = (osPriority_t) osPriorityNormal,
};

void Alarm_Task(void *argument);
void Chassis_Control_Task(void *argument);
void BigBlock_Control_Task(void *argument);
void SkyBlock_Control_Task(void *argument);
void Ball_Control_Task(void *argument);
void Yaw_Feedback_Task(void *argument);

void MX_FREERTOS_Init(void); /* (MISRA C 2004 rule 8.1) */

void MX_FREERTOS_Init(void) {
  /* USER CODE BEGIN Init */
  /* 任务在 CubeMX 里创建,这里不需要额外初始化 */

  /* USER CODE END Init */

  /* Create the thread(s) */
  /* creation of AlarmTask */
  AlarmTaskHandle = osThreadNew(Alarm_Task, NULL, &AlarmTask_attributes);

  /* creation of Chassis_Control */
  Chassis_ControlHandle = osThreadNew(Chassis_Control_Task, NULL, &Chassis_Control_attributes);

  /* creation of BigBlock_Contro */
  BigBlock_ControHandle = osThreadNew(BigBlock_Control_Task, NULL, &BigBlock_Contro_attributes);

  /* creation of SkyBlock_Contro */
  SkyBlock_ControHandle = osThreadNew(SkyBlock_Control_Task, NULL, &SkyBlock_Contro_attributes);

  /* creation of Ball_Control */
  Ball_ControlHandle = osThreadNew(Ball_Control_Task, NULL, &Ball_Control_attributes);

  /* creation of Yaw_Feedback */
  Yaw_FeedbackHandle = osThreadNew(Yaw_Feedback_Task, NULL, &Yaw_Feedback_attributes);

}

__weak void Alarm_Task(void *argument)
{
  for(;;)
  {
    osDelay(1);
  }
}

__weak void Chassis_Control_Task(void *argument)
{
  for(;;)
  {
    osDelay(1);
  }
}

__weak void BigBlock_Control_Task(void *argument)
{
  for(;;)
  {
    osDelay(1);
  }
}

__weak void SkyBlock_Control_Task(void *argument)
{
  for(;;)
  {
    osDelay(1);
  }
}

__weak void Ball_Control_Task(void *argument)
{
  for(;;)
  {
    osDelay(1);
  }
}

__weak void Yaw_Feedback_Task(void *argument)
{
  for(;;)
  {
    osDelay(1);
  }
}
